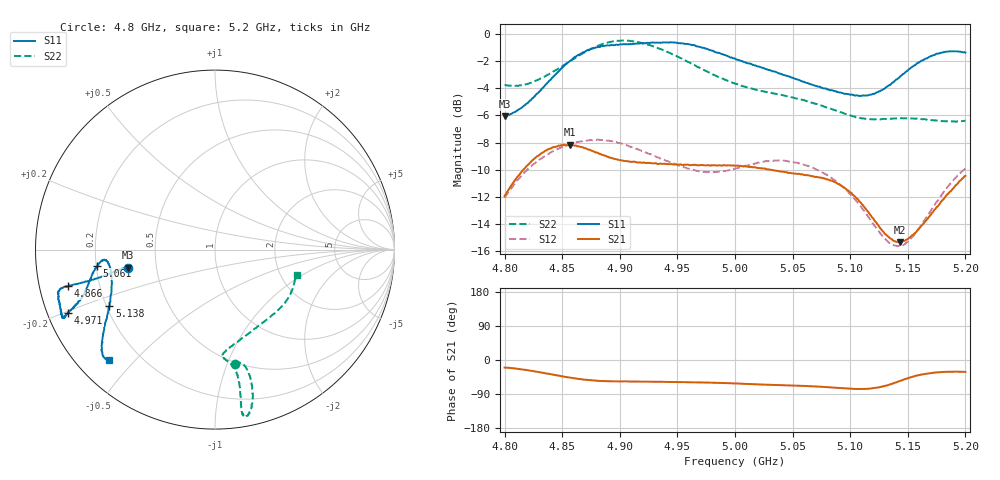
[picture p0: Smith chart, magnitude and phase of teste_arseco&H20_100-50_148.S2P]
! Network Analyzer HP8722D
! Hewlett-Packard
! Data name: Linha & Wilkinson
! Saver's name: Rodrigo Anjos
! Comments: Teste da utilização de aquisição
! continua pelo VNA HP8722D
! Time and date: 6/5/2025 13:48
!  Frequency  S11  S21  S12  S22
# HZ  S  MA R 50
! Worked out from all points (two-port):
!   401 points, 4.8 GHz to 5.2 GHz, reference 50 ohm
!   highest |S21| = -8.16 dB at 4.857 GHz (marker M1); lowest = -15.3 dB at 5.143 GHz (marker M2)
!   |S21| within 3 dB of the highest: 4.806 GHz to 5.092 GHz (286.4 MHz wide, 5.79 % of centre); 5.19143 GHz to end of sweep
!   lowest |S11| = -6.1 dB at 4.8 GHz (marker M3), VSWR 2.98, Z = 16.9 - j4.52 ohm
!   |S11| at or under -10 dB: nowhere
!   |S22| runs from -6.5 to -0.5 dB; largest |S21 - S12| = 0.62
!   S11 on the Smith chart (normalised r, x): 4.8 GHz: 0.34, -0.09; 4.866 GHz: 0.09, -0.12; 4.971 GHz: 0.06, -0.21; 5.061 GHz: 0.20, -0.07; 5.138 GHz: 0.21, -0.24; 5.2 GHz: 0.09, -0.42
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4.8e9  0.4977 -168.4  0.2531 -19.9  0.2496 -141.1  0.6486 -80.3
4.828e9  0.6017 -167.2  0.354 -31.0  0.3386 -145.1  0.675 -75.4
4.857e9  0.7964 -166.1  0.3908 -46.6  0.3928 -150.5  0.7931 -74.8
4.866e9  0.8446 -166.1  0.3836 -50.5  0.4019 -152.1  0.8381 -75.4
4.867e9  0.8492 -165.9  0.3833 -51.1  0.4024 -152.3  0.8445 -75.5
4.898e9  0.9106 -163.2  0.3449 -56.4  0.3978 -156.6  0.942 -79.0
4.915e9  0.9212 -159.7  0.3365 -56.9  0.3772 -157.4  0.9338 -80.5
4.934e9  0.9274 -156.6  0.3324 -57.7  0.3505 -155.7  0.8819 -80.6
4.953e9  0.9228 -155.8  0.3311 -58.2  0.3251 -152.2  0.8138 -80.0
4.971e9  0.8905 -156.7  0.3289 -59.4  0.3115 -146.6  0.7434 -79.7
5e9  0.8104 -159.3  0.3277 -62.0  0.3195 -137.3  0.6555 -81.4
5.036e9  0.7224 -165.8  0.3135 -66.2  0.342 -134.6  0.6009 -85.7
5.061e9  0.6622 -172.2  0.3025 -68.6  0.3289 -136.5  0.5684 -84.0
5.067e9  0.6495 -173.2  0.2997 -69.3  0.3224 -136.9  0.5575 -82.7
5.099e9  0.5994 -172.7  0.2638 -75.6  0.2598 -139.0  0.5023 -67.8
5.114e9  0.5937 -166.7  0.2257 -76.2  0.2175 -136.3  0.4867 -57.2
5.134e9  0.6473 -154.3  0.1779 -65.1  0.1701 -120.5  0.4873 -43.2
5.138e9  0.667 -151.9  0.1731 -61.0  0.1669 -115.4  0.488 -40.8
5.143e9  0.6929 -149.3  0.1715 -55.5  0.166 -108.6  0.4886 -38.0
5.154e9  0.7574 -144.6  0.182 -44.4  0.1794 -95.1  0.4881 -32.2
5.174e9  0.8395 -138.6  0.2273 -33.0  0.2376 -80.4  0.4804 -23.9
5.2e9  0.8528 -133.7  0.3007 -31.6  0.3196 -77.1  0.4785 -17.5
